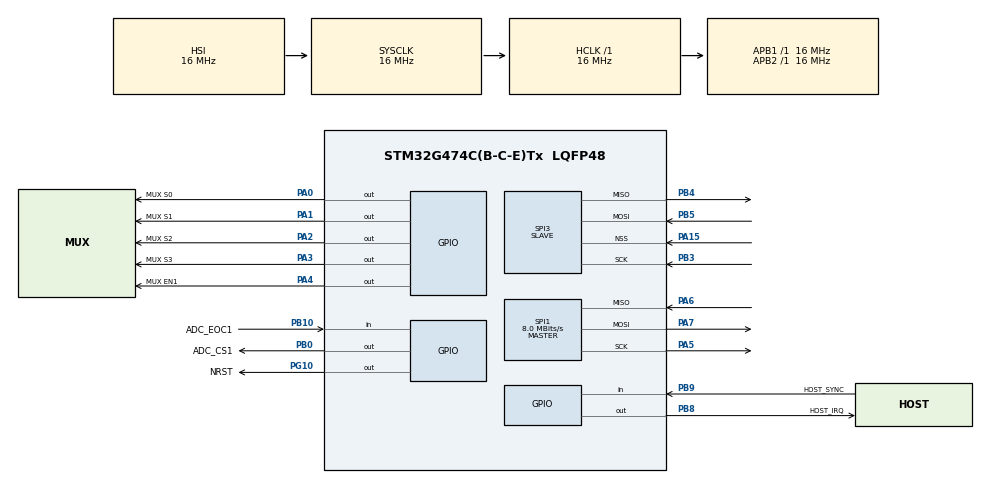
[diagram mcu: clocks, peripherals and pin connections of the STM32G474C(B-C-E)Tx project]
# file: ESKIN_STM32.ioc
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Mcu.Family=STM32G4
Mcu.Name=STM32G474C(B-C-E)Tx
Mcu.Package=LQFP48
NVIC.PriorityGroup=NVIC_PRIORITYGROUP_4
PA0.GPIO_Label=MUX S0
PA0.Signal=GPIO_Output
PA1.GPIO_Label=MUX S1
PA1.Signal=GPIO_Output
PA13.Mode=Serial_Wire
PA13.Signal=SYS_JTMS-SWDIO
PA14.Mode=Serial_Wire
PA14.Signal=SYS_JTCK-SWCLK
PA15.Mode=NSS_Signal_Hard_Input
PA15.Signal=SPI3_NSS
PA2.GPIO_Label=MUX S2
PA2.Signal=GPIO_Output
PA3.GPIO_Label=MUX S3
PA3.Signal=GPIO_Output
PA4.GPIO_Label=MUX EN1
PA4.Signal=GPIO_Output
PA5.Mode=Full_Duplex_Master
PA5.Signal=SPI1_SCK
PA6.Mode=Full_Duplex_Master
PA6.Signal=SPI1_MISO
PA7.Mode=Full_Duplex_Master
PA7.Signal=SPI1_MOSI
PB0.GPIO_Label=ADC_CS1
PB0.Signal=GPIO_Output
PB10.GPIO_Label=ADC_EOC1
PB10.Signal=GPIO_Input
PB3.Mode=Full_Duplex_Slave
PB3.Signal=SPI3_SCK
PB4.Mode=Full_Duplex_Slave
PB4.Signal=SPI3_MISO
PB5.Mode=Full_Duplex_Slave
PB5.Signal=SPI3_MOSI
PB8-BOOT0.GPIO_Label=HOST_IRQ
PB8-BOOT0.Signal=GPIO_Output
PB9.GPIO_Label=HOST_SYNC
PB9.Signal=GPIO_Input
PG10-NRST.GPIO_Label=NRST
PG10-NRST.Signal=GPIO_Output
ProjectManager.HeapSize=0x200
ProjectManager.StackSize=0x400
ProjectManager.TargetToolchain=CMake
RCC.AHBFreq_Value=16000000
RCC.APB1Freq_Value=16000000
RCC.APB1TimFreq_Value=16000000
RCC.APB2Freq_Value=16000000
RCC.APB2TimFreq_Value=16000000
RCC.CortexFreq_Value=16000000
RCC.EXTERNAL_CLOCK_VALUE=12288000
RCC.HCLKFreq_Value=16000000
RCC.HSE_VALUE=8000000
RCC.HSI48_VALUE=48000000
RCC.HSI_VALUE=16000000
RCC.LSE_VALUE=32768
RCC.SYSCLKFreq_VALUE=16000000
RCC.USBFreq_Value=64000000
RCC.VCOOutputFreq_Value=128000000
SPI1.CalculateBaudRate=8.0 MBits/s
SPI1.DataSize=SPI_DATASIZE_8BIT
SPI1.Direction=SPI_DIRECTION_2LINES
SPI1.Mode=SPI_MODE_MASTER
SPI1.VirtualType=VM_MASTER
SPI3.DataSize=SPI_DATASIZE_8BIT
SPI3.Direction=SPI_DIRECTION_2LINES
SPI3.Mode=SPI_MODE_SLAVE
SPI3.NSS=SPI_NSS_HARD_INPUT
SPI3.VirtualNSS=VM_NSSHARD
SPI3.VirtualType=VM_SLAVE
VP_SYS_VS_DBSignals.Mode=DisableDeadBatterySignals
board=custom

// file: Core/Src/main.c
/* USER CODE BEGIN Header */
/**
  ******************************************************************************
  * @file           : main.c
  * @brief          : Main program body
  ******************************************************************************
  * @attention
  *
  * Copyright (c) 2026 STMicroelectronics.
  * All rights reserved.
  *
  * This software is licensed under terms that can be found in the LICENSE file
  * in the root directory of this software component.
  * If no LICENSE file comes with this software, it is provided AS-IS.
  *
  ******************************************************************************
  */
/* USER CODE END Header */
#include "main.h"

/* USER CODE BEGIN Includes */

/* Basic blocking scan implementation; DMA can be added after bring-up. */

/* USER CODE END Includes */

SPI_HandleTypeDef hspi1;
SPI_HandleTypeDef hspi3;

/* USER CODE BEGIN PV */

/* FSR frame layout: [row][column], 12-bit ADC samples stored in 16 bits. */
#define FSR_ROWS             16U
#define FSR_COLUMNS          16U
#define MAX11633_EOC_TIMEOUT 5U
#define HOST_FRAME_MAGIC     0xA5U
#define HOST_FRAME_BYTES     (1U + 2U + (FSR_ROWS * FSR_COLUMNS * 2U))
#define HOST_SPI_TIMEOUT     1000U

static uint16_t fsr_frame[FSR_ROWS][FSR_COLUMNS];
static uint8_t host_tx_frame[HOST_FRAME_BYTES];
static uint8_t host_rx_frame[HOST_FRAME_BYTES];
static uint16_t host_sequence;
static volatile HAL_StatusTypeDef fsr_scan_status = HAL_OK;

/* Isolated STM32-to-Teensy SPI3 link test. */
#define SPI_PATTERN_BYTE       0x55U
#define SPI_PATTERN_TIMEOUT_MS 1000U

static uint8_t spi_pattern_tx = SPI_PATTERN_BYTE;
static uint8_t spi_pattern_rx;
static volatile HAL_StatusTypeDef spi_pattern_status = HAL_OK;

/* USER CODE END PV */

void SystemClock_Config(void);
static void MX_GPIO_Init(void);
static void MX_SPI1_Init(void);
static void MX_SPI3_Init(void);
/* USER CODE BEGIN PFP */

static void MUX1_SelectRow(uint8_t row);
static HAL_StatusTypeDef MAX11633_Init(void);
static HAL_StatusTypeDef MAX11633_Read16(uint16_t *samples);
static HAL_StatusTypeDef FSR_ScanFrame(uint16_t frame[FSR_ROWS][FSR_COLUMNS]);
static HAL_StatusTypeDef HOST_SendFrame(const uint16_t frame[FSR_ROWS][FSR_COLUMNS]);

/* USER CODE END PFP */

int main(void)
{

  /* MCU Configuration--------------------------------------------------------*/

  /* Reset of all peripherals, Initializes the Flash interface and the Systick. */
  HAL_Init();

  /* Configure the system clock */
  SystemClock_Config();

  /* Initialize all configured peripherals */
  MX_GPIO_Init();
  MX_SPI1_Init();
  MX_SPI3_Init();
  /* USER CODE BEGIN 2 */

  /* Complete SPI pattern test: IRQ announces that SPI3 is ready. */
  HAL_GPIO_WritePin(GPIOB, HOST_IRQ_Pin, GPIO_PIN_RESET);

  /* USER CODE END 2 */

  /* Infinite loop */
  while (1)
  {

    /* USER CODE BEGIN 3 */
    spi_pattern_tx = SPI_PATTERN_BYTE;
    spi_pattern_rx = 0U;

    /*
     * The STM32 is the SPI3 slave. HOST_IRQ goes high only after the HAL
     * transfer is about to wait for the Teensy master to assert NSS and
     * generate eight clocks.
     */
    HAL_GPIO_WritePin(GPIOB, HOST_IRQ_Pin, GPIO_PIN_SET);
    spi_pattern_status = HAL_SPI_TransmitReceive(
        &hspi3,
        &spi_pattern_tx,
        &spi_pattern_rx,
        1U,
        SPI_PATTERN_TIMEOUT_MS);
    HAL_GPIO_WritePin(GPIOB, HOST_IRQ_Pin, GPIO_PIN_RESET);

    if (spi_pattern_status != HAL_OK)
    {
      (void)HAL_SPI_Abort(&hspi3);
    }

    /* Provide a visible low interval on HOST_IRQ between transactions. */
    HAL_Delay(10U);
  }
  /* USER CODE END 3 */
}

void SystemClock_Config(void)
{
  RCC_OscInitTypeDef RCC_OscInitStruct = {0};
  RCC_ClkInitTypeDef RCC_ClkInitStruct = {0};

  /** Configure the main internal regulator output voltage
  */
  HAL_PWREx_ControlVoltageScaling(PWR_REGULATOR_VOLTAGE_SCALE1);

  /** Initializes the RCC Oscillators according to the specified parameters
  * in the RCC_OscInitTypeDef structure.
  */
  RCC_OscInitStruct.OscillatorType = RCC_OSCILLATORTYPE_HSI;
  RCC_OscInitStruct.HSIState = RCC_HSI_ON;
  RCC_OscInitStruct.HSICalibrationValue = RCC_HSICALIBRATION_DEFAULT;
  RCC_OscInitStruct.PLL.PLLState = RCC_PLL_NONE;
  if (HAL_RCC_OscConfig(&RCC_OscInitStruct) != HAL_OK)
  {
    Error_Handler();
  }

  /** Initializes the CPU, AHB and APB buses clocks
  */
  RCC_ClkInitStruct.ClockType = RCC_CLOCKTYPE_HCLK|RCC_CLOCKTYPE_SYSCLK
                              |RCC_CLOCKTYPE_PCLK1|RCC_CLOCKTYPE_PCLK2;
  RCC_ClkInitStruct.SYSCLKSource = RCC_SYSCLKSOURCE_HSI;
  RCC_ClkInitStruct.AHBCLKDivider = RCC_SYSCLK_DIV1;
  RCC_ClkInitStruct.APB1CLKDivider = RCC_HCLK_DIV1;
  RCC_ClkInitStruct.APB2CLKDivider = RCC_HCLK_DIV1;

  if (HAL_RCC_ClockConfig(&RCC_ClkInitStruct, FLASH_LATENCY_0) != HAL_OK)
  {
    Error_Handler();
  }
}

static void MX_SPI1_Init(void)
{

  /* SPI1 parameter configuration*/
  hspi1.Instance = SPI1;
  hspi1.Init.Mode = SPI_MODE_MASTER;
  hspi1.Init.Direction = SPI_DIRECTION_2LINES;
  hspi1.Init.DataSize = SPI_DATASIZE_8BIT;
  hspi1.Init.CLKPolarity = SPI_POLARITY_LOW;
  hspi1.Init.CLKPhase = SPI_PHASE_1EDGE;
  hspi1.Init.NSS = SPI_NSS_SOFT;
  hspi1.Init.BaudRatePrescaler = SPI_BAUDRATEPRESCALER_2;
  hspi1.Init.FirstBit = SPI_FIRSTBIT_MSB;
  hspi1.Init.TIMode = SPI_TIMODE_DISABLE;
  hspi1.Init.CRCCalculation = SPI_CRCCALCULATION_DISABLE;
  hspi1.Init.CRCPolynomial = 7;
  hspi1.Init.CRCLength = SPI_CRC_LENGTH_DATASIZE;
  hspi1.Init.NSSPMode = SPI_NSS_PULSE_ENABLE;
  if (HAL_SPI_Init(&hspi1) != HAL_OK)
  {
    Error_Handler();
  }

}

static void MX_SPI3_Init(void)
{

  /* SPI3 parameter configuration*/
  hspi3.Instance = SPI3;
  hspi3.Init.Mode = SPI_MODE_SLAVE;
  hspi3.Init.Direction = SPI_DIRECTION_2LINES;
  hspi3.Init.DataSize = SPI_DATASIZE_8BIT;
  hspi3.Init.CLKPolarity = SPI_POLARITY_LOW;
  hspi3.Init.CLKPhase = SPI_PHASE_1EDGE;
  hspi3.Init.NSS = SPI_NSS_HARD_INPUT;
  hspi3.Init.FirstBit = SPI_FIRSTBIT_MSB;
  hspi3.Init.TIMode = SPI_TIMODE_DISABLE;
  hspi3.Init.CRCCalculation = SPI_CRCCALCULATION_DISABLE;
  hspi3.Init.CRCPolynomial = 7;
  hspi3.Init.CRCLength = SPI_CRC_LENGTH_DATASIZE;
  hspi3.Init.NSSPMode = SPI_NSS_PULSE_DISABLE;
  if (HAL_SPI_Init(&hspi3) != HAL_OK)
  {
    Error_Handler();
  }

}

static void MX_GPIO_Init(void)
{
  GPIO_InitTypeDef GPIO_InitStruct = {0};

  /* GPIO Ports Clock Enable */
  __HAL_RCC_GPIOG_CLK_ENABLE();
  __HAL_RCC_GPIOA_CLK_ENABLE();
  __HAL_RCC_GPIOB_CLK_ENABLE();

  /*Configure GPIO pin Output Level */
  HAL_GPIO_WritePin(NRST_GPIO_Port, NRST_Pin, GPIO_PIN_SET);

  /*Configure GPIO pin Output Level */
  HAL_GPIO_WritePin(GPIOA, MUX_S0_Pin|MUX_S1_Pin|MUX_S2_Pin|MUX_S3_Pin,
                    GPIO_PIN_RESET);
  HAL_GPIO_WritePin(GPIOA, MUX_EN1_Pin, GPIO_PIN_SET);

  /*Configure GPIO pin Output Level */
  HAL_GPIO_WritePin(GPIOB, ADC_CS1_Pin, GPIO_PIN_SET);
  HAL_GPIO_WritePin(GPIOB, HOST_IRQ_Pin, GPIO_PIN_RESET);

  /*Configure GPIO pin : NRST_Pin */
  GPIO_InitStruct.Pin = NRST_Pin;
  GPIO_InitStruct.Mode = GPIO_MODE_OUTPUT_PP;
  GPIO_InitStruct.Pull = GPIO_NOPULL;
  GPIO_InitStruct.Speed = GPIO_SPEED_FREQ_LOW;
  HAL_GPIO_Init(NRST_GPIO_Port, &GPIO_InitStruct);

  /*Configure GPIO pins : MUX_S0_Pin MUX_S1_Pin MUX_S2_Pin MUX_S3_Pin
                           MUX_EN1_Pin */
  GPIO_InitStruct.Pin = MUX_S0_Pin|MUX_S1_Pin|MUX_S2_Pin|MUX_S3_Pin
                          |MUX_EN1_Pin;
  GPIO_InitStruct.Mode = GPIO_MODE_OUTPUT_PP;
  GPIO_InitStruct.Pull = GPIO_NOPULL;
  GPIO_InitStruct.Speed = GPIO_SPEED_FREQ_LOW;
  HAL_GPIO_Init(GPIOA, &GPIO_InitStruct);

  /*Configure GPIO pins : ADC_CS1_Pin HOST_IRQ_Pin */
  GPIO_InitStruct.Pin = ADC_CS1_Pin|HOST_IRQ_Pin;
  GPIO_InitStruct.Mode = GPIO_MODE_OUTPUT_PP;
  GPIO_InitStruct.Pull = GPIO_NOPULL;
  GPIO_InitStruct.Speed = GPIO_SPEED_FREQ_LOW;
  HAL_GPIO_Init(GPIOB, &GPIO_InitStruct);

  /*Configure GPIO pins : ADC_EOC1_Pin HOST_SYNC_Pin */
  GPIO_InitStruct.Pin = ADC_EOC1_Pin|HOST_SYNC_Pin;
  GPIO_InitStruct.Mode = GPIO_MODE_INPUT;
  GPIO_InitStruct.Pull = GPIO_NOPULL;
  HAL_GPIO_Init(GPIOB, &GPIO_InitStruct);

}

/* USER CODE BEGIN 4 */

static void MUX1_SelectRow(uint8_t row)
{
  HAL_GPIO_WritePin(GPIOA, MUX_S0_Pin, (row & 0x01U) ? GPIO_PIN_SET : GPIO_PIN_RESET);
  HAL_GPIO_WritePin(GPIOA, MUX_S1_Pin, (row & 0x02U) ? GPIO_PIN_SET : GPIO_PIN_RESET);
  HAL_GPIO_WritePin(GPIOA, MUX_S2_Pin, (row & 0x04U) ? GPIO_PIN_SET : GPIO_PIN_RESET);
  HAL_GPIO_WritePin(GPIOA, MUX_S3_Pin, (row & 0x08U) ? GPIO_PIN_SET : GPIO_PIN_RESET);
}

static HAL_StatusTypeDef MAX11633_Init(void)
{
  /* 0x68: setup register, internal clock mode 10,
     internal 2.5 V reference always on (MAX11633). */
  const uint8_t setup_command = 0x68U;
  HAL_StatusTypeDef status;

  HAL_GPIO_WritePin(GPIOB, ADC_CS1_Pin, GPIO_PIN_RESET);
  status = HAL_SPI_Transmit(&hspi1, (uint8_t *)&setup_command, 1U,
                            MAX11633_EOC_TIMEOUT);
  HAL_GPIO_WritePin(GPIOB, ADC_CS1_Pin, GPIO_PIN_SET);
  return status;
}

static HAL_StatusTypeDef MAX11633_Read16(uint16_t *samples)
{
  uint8_t conversion_command = 0xF8U; /* AIN0..AIN15 scan. */
  uint8_t rx[FSR_COLUMNS * 2U] = {0};
  HAL_StatusTypeDef status;
  uint32_t start;

  HAL_GPIO_WritePin(GPIOB, ADC_CS1_Pin, GPIO_PIN_RESET);
  status = HAL_SPI_Transmit(&hspi1, &conversion_command, 1U,
                            MAX11633_EOC_TIMEOUT);
  HAL_GPIO_WritePin(GPIOB, ADC_CS1_Pin, GPIO_PIN_SET);
  if (status != HAL_OK)
  {
    return status;
  }

  /* EOC is active low after the requested scan is complete. */
  start = HAL_GetTick();
  while (HAL_GPIO_ReadPin(GPIOB, ADC_EOC1_Pin) == GPIO_PIN_SET)
  {
    if ((HAL_GetTick() - start) >= MAX11633_EOC_TIMEOUT)
    {
      return HAL_TIMEOUT;
    }
  }

  HAL_GPIO_WritePin(GPIOB, ADC_CS1_Pin, GPIO_PIN_RESET);
  status = HAL_SPI_Receive(&hspi1, rx, sizeof(rx), MAX11633_EOC_TIMEOUT);
  HAL_GPIO_WritePin(GPIOB, ADC_CS1_Pin, GPIO_PIN_SET);
  if (status != HAL_OK)
  {
    return status;
  }

  for (uint32_t column = 0U; column < FSR_COLUMNS; ++column)
  {
    /* MAX11633 returns 12-bit binary results with four leading zero bits. */
    samples[column] = (uint16_t)(((uint16_t)rx[2U * column] << 8U) |
                                 rx[2U * column + 1U]);
    samples[column] &= 0x0FFFU;
  }
  return HAL_OK;
}

static HAL_StatusTypeDef FSR_ScanFrame(uint16_t frame[FSR_ROWS][FSR_COLUMNS])
{
  HAL_StatusTypeDef status;

  for (uint8_t row = 0U; row < FSR_ROWS; ++row)
  {
    MUX1_SelectRow(row);
    HAL_Delay(1U); /* Allow the MUX and ADC input network to settle. */

    HAL_GPIO_WritePin(GPIOA, MUX_EN1_Pin, GPIO_PIN_RESET);
    status = MAX11633_Read16(frame[row]);
    HAL_GPIO_WritePin(GPIOA, MUX_EN1_Pin, GPIO_PIN_SET);
    if (status != HAL_OK)
    {
      return status;
    }
  }
  return HAL_OK;
}

static HAL_StatusTypeDef HOST_SendFrame(const uint16_t frame[FSR_ROWS][FSR_COLUMNS])
{
  uint32_t offset = 0U;
  HAL_StatusTypeDef status;

  host_tx_frame[offset++] = HOST_FRAME_MAGIC;
  host_tx_frame[offset++] = (uint8_t)(host_sequence & 0xFFU);
  host_tx_frame[offset++] = (uint8_t)(host_sequence >> 8U);
  ++host_sequence;

  for (uint32_t row = 0U; row < FSR_ROWS; ++row)
  {
    for (uint32_t column = 0U; column < FSR_COLUMNS; ++column)
    {
      const uint16_t sample = frame[row][column] & 0x0FFFU;
      host_tx_frame[offset++] = (uint8_t)(sample & 0xFFU);
      host_tx_frame[offset++] = (uint8_t)(sample >> 8U);
    }
  }

  /* IRQ high tells the Teensy that one complete frame is ready. */
  HAL_GPIO_WritePin(GPIOB, HOST_IRQ_Pin, GPIO_PIN_SET);
  status = HAL_SPI_TransmitReceive(&hspi3, host_tx_frame, host_rx_frame,
                                   HOST_FRAME_BYTES, HOST_SPI_TIMEOUT);
  HAL_GPIO_WritePin(GPIOB, HOST_IRQ_Pin, GPIO_PIN_RESET);
  return status;
}

/* USER CODE END 4 */

void Error_Handler(void)
{
  __disable_irq();
  while (1)
  {
  }
}
